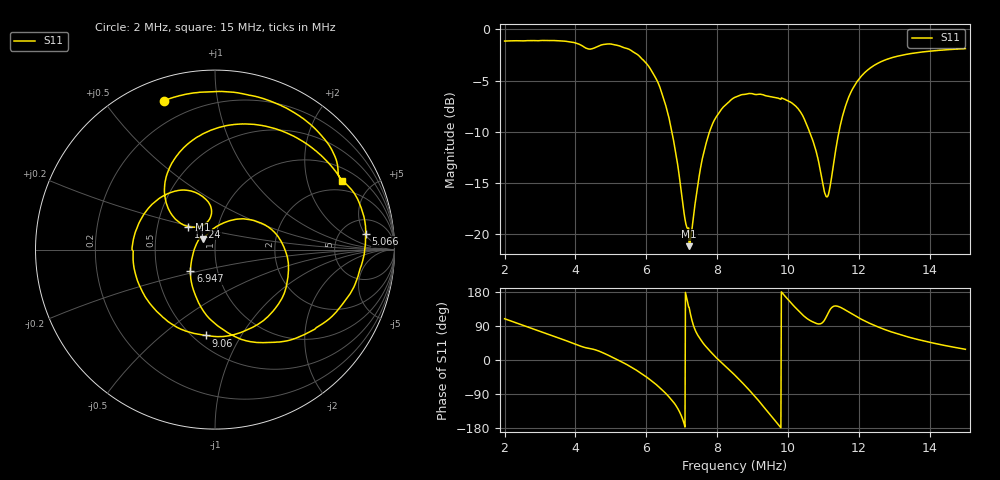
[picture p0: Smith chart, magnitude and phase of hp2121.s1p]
# Hz S RI R 50
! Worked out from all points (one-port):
!   1010 points, 2 MHz to 15 MHz, reference 50 ohm
!   lowest |S11| = -21.2 dB at 7.205 MHz (marker M1), VSWR 1.19, Z = 43.6 + j5 ohm
!   |S11| at or under -10 dB: 6.717 MHz to 7.784 MHz (1.067 MHz wide, 14.7 % of centre); 10.6 MHz to 11.43 MHz (834.2 kHz wide, 7.57 % of centre)
!   S11 on the Smith chart (normalised r, x): 2 MHz: 0.10, +0.71; 5.066 MHz: 9, +5; 6.947 MHz: 0.74, -0.18; 9.06 MHz: 0.58, -0.72; 11.24 MHz: 0.72, +0.19; 15 MHz: 1.53, +3.32
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2000000  -0.2842 0.8305
2798800  0.1163 0.8746
3636184  0.5109 0.7146
4666968  0.7642 0.3295
5066368  0.8393 0.0869
5259568  0.8276 -0.0449
5710568  0.6823 -0.3397
6161452  0.3451 -0.5151
6483552  0.0613 -0.4564
6882952  -0.1331 -0.1725
6947452  -0.1373 -0.1181
7205136  -0.0659 0.0569
7488536  0.097 0.1651
7746236  0.2652 0.144
8132736  0.4061 -0.0574
8506420  0.3529 -0.3045
9060420  -0.0515 -0.4782
9627320  -0.4359 -0.1612
1.01298e7  -0.3585 0.2447
1.04132e7  -0.1802 0.3318
1.07868e7  -0.0295 0.2525
1.10703e7  -0.0595 0.1403
1.123779e7  -0.1481 0.1282
1.148259e7  -0.2605 0.2286
1.175319e7  -0.2728 0.4027
1.246177e7  -0.00182 0.673
1.337657e7  0.3676 0.6624
1.499996e7  0.7101 0.3814
